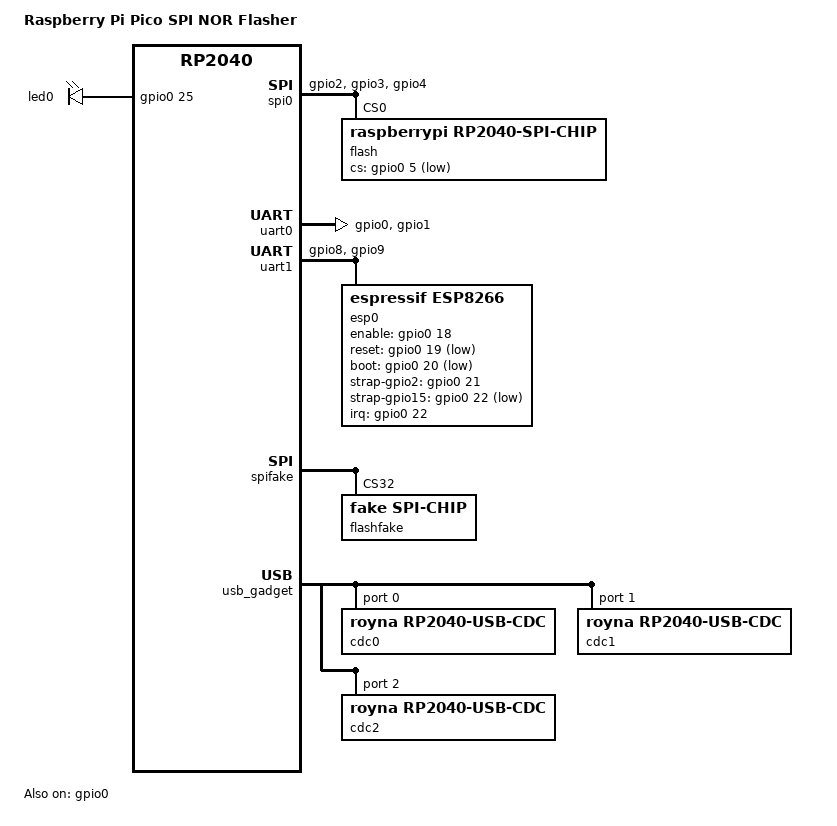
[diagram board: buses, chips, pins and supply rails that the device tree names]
/dts-v1/;

/ {
    model = "Raspberry Pi Pico SPI NOR Flasher";
    compatible = "royna,spi-nor-flasher",
                 "raspberrypi,pico",
                 "raspberrypi,rp2040";

    #address-cells = <1>;
    #size-cells = <1>;

    aliases {
        spi0 = &spi0;
        serial0 = &uart0;
        serial1 = &uart1;
        wlan0 = &esp0;
        serprog0 = &serprog0;
        passthru0 = &passthru0;
        led0 = &led0;
    };

    chosen {
        stdout-path = "serial0:115200n8";
    };

    soc0: soc {
        compatible = "simple-bus";

        #address-cells = <1>;
        #size-cells = <1>;
        ranges;

        pinctrl: pinctrl@40014000 {
            compatible = "royna,rp2040-pinctrl";
            reg = <0x40014000 0x4000>;

            uart0_default: uart0-default {
                pins = "gpio0", "gpio1";
                function = "uart";
            };

            uart1_default: uart1-default {
                pins = "gpio8", "gpio9";
                function = "uart";
            };

            spi0_default: spi0-default {
                pins = "gpio2", "gpio3", "gpio4"; // SCK MOSI MISO
                function = "spi";
            };
        };

        gpio0: gpio@d0000000 {
            compatible = "royna,rp2040-sio-gpio";
            reg = <0xd0000000 0x1000>,<0x40014000 0x4000>;
            reg-names = "sio", "io-bank0";

            gpio-controller;
            #gpio-cells = <2>;

            interrupt-controller;
            #interrupt-cells = <2>;

            status = "okay";
            //<&pinctrl GPIO_OFFSET PINCTRL_PIN_OFFSET COUNT>
            gpio-ranges = <&pinctrl 0 0 30>;
        };

        spi0: spi@4003c000 {
            compatible = "raspberrypi,rp2040-spi-master";
            reg = <0x4003c000 0x4000>;

            pinctrl-names = "default";
            pinctrl-0 = <&spi0_default>;
            default-baud = <10000000>;

            #address-cells = <1>;
            #size-cells = <0>;

            flash: flash@0 {
                compatible = "raspberrypi,rp2040-spi-chip";
                reg = <0>;
                default-baud = <10000000>;
                cs-gpio = <&gpio0 5 1>;

                status = "okay";
            };
        };

        uart0: serial@40034000 {
            compatible = "raspberrypi,rp2040-uart";
            reg = <0x40034000 0x4000>;

            default-baud = <115200>;

            pinctrl-names = "default";
            pinctrl-0 = <&uart0_default>;

            status = "okay";
        };

        uart1: serial@40038000 {
            compatible = "raspberrypi,rp2040-uart";
            reg = <0x40038000 0x4000>;

            default-baud = <74880>;

            pinctrl-names = "default";
            pinctrl-0 = <&uart1_default>;

            status = "okay";

            esp0: wifi {
                compatible = "espressif,esp8266";

                enable-gpios = <&gpio0 18 0>;   // pulldown 10k by esp board
                reset-gpios = <&gpio0 19 1>;  // pullup 10k by my board
                boot-gpios = <&gpio0 20 1>;// pullup 10k by my board

                /* ESP8266 GPIO2 / GPIO15 boot straps */
                strap-gpio2-gpios = <&gpio0 21 0>; // pullup 10k by my board
                strap-gpio15-gpios = <&gpio0 22 1>; // pulldown 10k by esp board

                // HIGH=4 LOW=8 FALLING=2 RISING=1
                interrupts-extended = <&gpio0 22 1>;
                status = "okay";
            };
        };

        usb0: usb@50110000 {
            compatible = "royna,rp2040-usb";
            reg = <0x50110000 0x1000>,
                  <0x50100000 0x1000>;
            reg-names = "regs", "dpram";

            dr_mode = "peripheral";
            status = "disabled";
        };
    };

    leds {
        compatible = "gpio-leds";

        led0: led-0 {
            gpios = <&gpio0 25 0>;
            default-state = "off";
        };
    };

    fw: firmware {
        usb_gadget: usb-gadget {
            compatible = "royna,rp2040-usb-gadget";
            controller = <&usb0>;

            #address-cells = <1>;
            #size-cells = <0>;

            cdc0: serial@0 {
                compatible = "royna,rp2040-usb-cdc";
                reg = <0>;
                status = "okay";
            };

            cdc1: serial@1 {
                compatible = "royna,rp2040-usb-cdc";
                reg = <1>;
                royna,stdio;
                status = "okay";
            };

            cdc2: serial@2 {
                compatible = "royna,rp2040-usb-cdc";
                reg = <2>;
                status = "okay";
            };
        };

        serprog1: serprog {
            compatible = "royna,serprog";

            spi-chip = <&flash>;
            usb-cdc = <&cdc0>;

            status = "disabled";
        };

        passthru0: passthru {
            compatible = "royna,passthru";

            usb-cdc = <&cdc2>;
            uart = <&uart1>;
        };
    };
};

&soc0 {
    spifake: spi@190 {
        compatible = "fake,spi-master";
        reg = <0x190 0x4000>;
        status = "okay";

        #address-cells = <1>;
        #size-cells = <0>;

        default-baud = <10000000>;

        flashfake: flash@20 {
            compatible = "fake,spi-chip";
            reg = <32>;

            status = "okay";
        };
    };
};

&fw {
    serprog0: serprog-fake {
        compatible = "royna,serprog";

        spi-chip = <&flashfake>;
        usb-cdc = <&cdc0>;

        status = "okay";
    };
};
